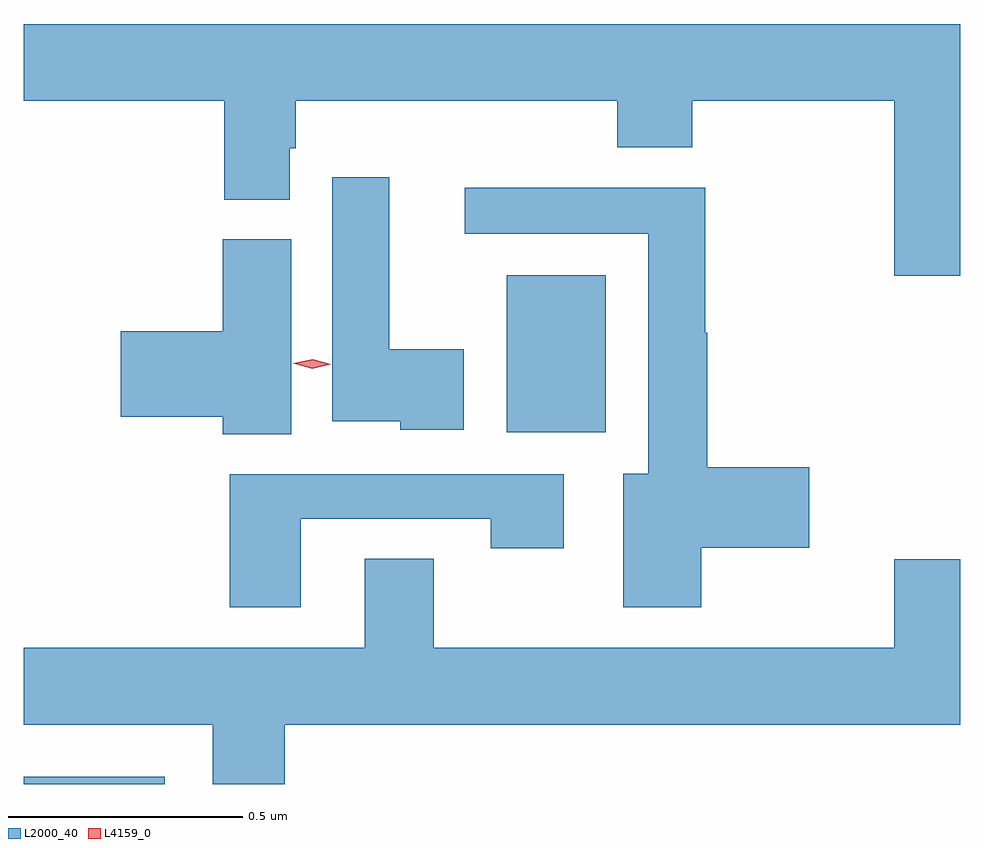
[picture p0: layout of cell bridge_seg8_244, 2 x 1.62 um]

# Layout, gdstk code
import gdstk
lib = gdstk.Library(unit=1e-6, precision=1e-09)
def R(c, l, rs):  # rectangles x0, y0, x1, y1
    for r in rs: c.add(gdstk.rectangle(r[:2], r[2:], *l))
def P(c, l, *ps):  # polygons
    for p in ps: c.add(gdstk.Polygon(p, *l))
L2000_40 = (2000, 40)
L4159_0 = (4159, 0)

bridge_seg8_244 = lib.new_cell('bridge_seg8_244')
R(bridge_seg8_244, L2000_40, [(271.041,1139.017,271.342,1139.032), (272.072,1139.768,272.284,1140.103)])
P(bridge_seg8_244, L2000_40, [(273.041,1140.64),(271.041,1140.64),(271.041,1140.476),(271.469,1140.476),(271.469,1140.265),(271.609,1140.265),(271.609,1140.375),(271.622,1140.375),(271.622,1140.476),(272.309,1140.476),(272.309,1140.377),(272.469,1140.377),(272.469,1140.476),(272.9,1140.476),(272.9,1140.102),(273.041,1140.102)],
  [(271.981,1139.945),(271.822,1139.945),(271.822,1140.313),(271.7,1140.313),(271.7,1139.792),(271.845,1139.792),(271.845,1139.774),(271.981,1139.774)],
  [(272.488,1139.522),(272.719,1139.522),(272.719,1139.693),(272.501,1139.693),(272.501,1139.981),(272.496,1139.981),(272.496,1140.29),(271.983,1140.29),(271.983,1140.192),(272.375,1140.192),(272.375,1139.68),(272.321,1139.68),(272.321,1139.394),(272.488,1139.394)],
  [(271.612,1140.18),(271.466,1140.18),(271.466,1139.984),(271.248,1139.984),(271.248,1139.801),(271.466,1139.801),(271.466,1139.764),(271.612,1139.764)],
  [(271.633,1139.583),(272.038,1139.583),(272.038,1139.52),(272.194,1139.52),(272.194,1139.679),(271.481,1139.679),(271.481,1139.394),(271.633,1139.394)],
  [(271.598,1139.144),(273.041,1139.144),(273.041,1139.497),(272.9,1139.497),(272.9,1139.308),(271.917,1139.308),(271.917,1139.498),(271.769,1139.498),(271.769,1139.308),(271.041,1139.308),(271.041,1139.144),(271.445,1139.144),(271.445,1139.017),(271.598,1139.017)])
P(bridge_seg8_244, L4159_0, [(271.657,1139.904),(271.617,1139.916),(271.617,1139.916),(271.617,1139.916),(271.658,1139.924),(271.697,1139.913),(271.697,1139.913),(271.697,1139.913)])

lib.write_gds('bridge_seg8_244.gds')
